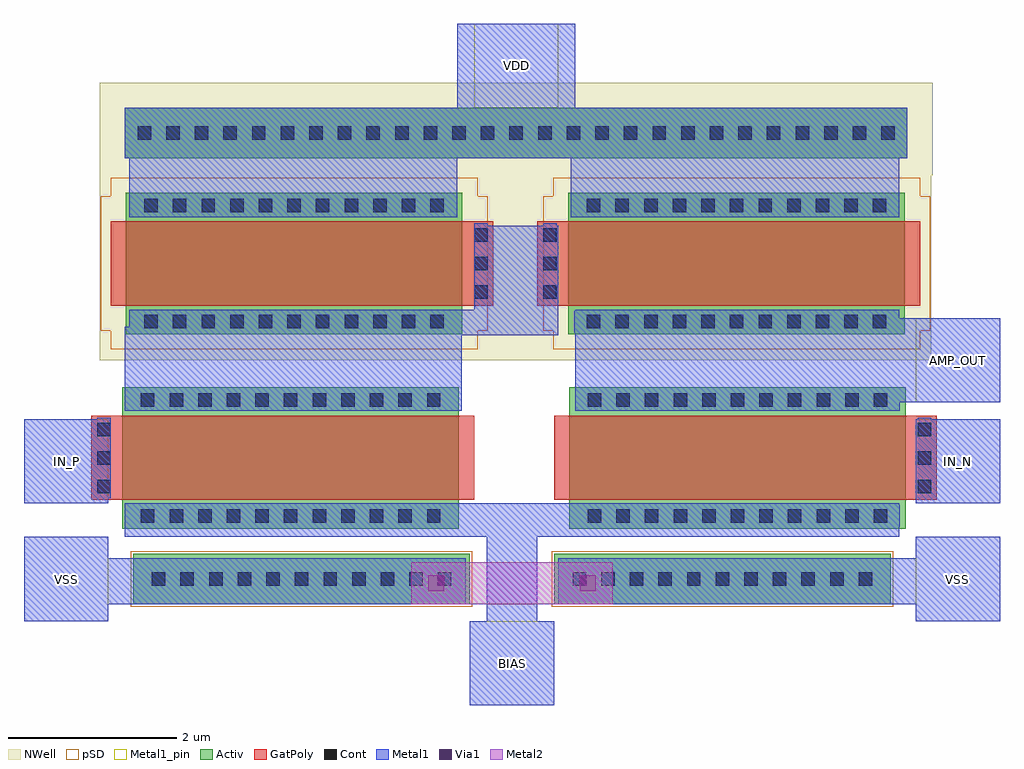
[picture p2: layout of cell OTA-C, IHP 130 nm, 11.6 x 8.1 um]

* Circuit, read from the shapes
.subckt OTA-C AMP_OUT BIAS IN_N IN_P VDD VSS
XM1 sg13_lv_nmos_CB58VR_3/D IN_P BIAS VSS sg13_lv_nmos w=4u l=1u
XM2 AMP_OUT IN_N BIAS VSS sg13_lv_nmos w=4u l=1u
XM3 VDD sg13_lv_nmos_CB58VR_3/D sg13_lv_nmos_CB58VR_3/D VDD sg13_lv_pmos w=4u l=1u
XM4 VDD sg13_lv_nmos_CB58VR_3/D AMP_OUT VDD sg13_lv_pmos w=4u l=1u
.ends

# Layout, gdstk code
from math import pi, radians
import gdstk
lib = gdstk.Library(unit=1e-6, precision=1e-09)
def R(c, l, rs):  # rectangles x0, y0, x1, y1
    for r in rs: c.add(gdstk.rectangle(r[:2], r[2:], *l))
def A(c, l, x, y, w, h, nx, ny, dx, dy):  # array of equal rectangles
    R(c, l, [(x+i*dx, y+j*dy, x+i*dx+w, y+j*dy+h) for i in range(nx) for j in range(ny)])
Activ = (1, 0)
GatPoly = (5, 0)
Cont = (6, 0)
Metal1 = (8, 0)
Metal1_pin = (8, 2)
Metal2 = (10, 0)
pSD = (14, 0)
Via1 = (19, 0)
NWell = (31, 0)

sg13_lv_pmos_xb565w = lib.new_cell('sg13_lv_pmos_XB565W')
R(sg13_lv_pmos_xb565w, Activ, [(-0.84,-2.095,0.84,1.905)])
R(sg13_lv_pmos_xb565w, GatPoly, [(-0.5,-2.275,0.5,2.275)])
A(sg13_lv_pmos_xb565w, Cont, -0.77, -1.875, 0.16, 0.16, 1, 11, 0, 0.34)
A(sg13_lv_pmos_xb565w, Cont, 0.61, -1.875, 0.16, 0.16, 1, 11, 0, 0.34)
A(sg13_lv_pmos_xb565w, Cont, -0.42, 2.045, 0.16, 0.16, 3, 1, 0.34, 0)
R(sg13_lv_pmos_xb565w, Metal1, [(-0.82,-2.025,-0.56,1.835), (0.56,-2.025,0.82,1.835), (-0.48,2.045,0.48,2.205)])
R(sg13_lv_pmos_xb565w, pSD, [(-0.8,-2.395,0.8,-2.275), (-1.02,-2.275,1.02,2.085), (-0.8,2.085,0.8,2.205)])
R(sg13_lv_pmos_xb565w, NWell, [(-1.15,-2.405,1.15,2.215)])
sg13_lv_pmos_xb565w.add(gdstk.Label('D', (-0.69,-0.095), layer=8, texttype=25))
sg13_lv_pmos_xb565w.add(gdstk.Label('S', (0.69,-0.095), layer=8, texttype=25))
sg13_lv_pmos_xb565w.add(gdstk.Label('G', (0,2.125), layer=8, texttype=25))

sg13_lv_nmos_cb58vr = lib.new_cell('sg13_lv_nmos_CB58VR')
R(sg13_lv_nmos_cb58vr, Activ, [(-0.84,-2.095,0.84,1.905)])
R(sg13_lv_nmos_cb58vr, GatPoly, [(-0.5,-2.275,0.5,2.275)])
A(sg13_lv_nmos_cb58vr, Cont, -0.77, -1.875, 0.16, 0.16, 1, 11, 0, 0.34)
A(sg13_lv_nmos_cb58vr, Cont, 0.61, -1.875, 0.16, 0.16, 1, 11, 0, 0.34)
A(sg13_lv_nmos_cb58vr, Cont, -0.42, 2.045, 0.16, 0.16, 3, 1, 0.34, 0)
R(sg13_lv_nmos_cb58vr, Metal1, [(-0.82,-2.025,-0.56,1.835), (0.56,-2.025,0.82,1.835), (-0.48,2.045,0.48,2.205)])
sg13_lv_nmos_cb58vr.add(gdstk.Label('D', (-0.69,-0.095), layer=8, texttype=25))
sg13_lv_nmos_cb58vr.add(gdstk.Label('S', (0.69,-0.095), layer=8, texttype=25))
sg13_lv_nmos_cb58vr.add(gdstk.Label('G', (0,2.125), layer=8, texttype=25))

ota_c = lib.new_cell('OTA-C')
R(ota_c, Activ, [(7.1,-5.9,11.1,-5.3), (12.1,-5.9,16.1,-5.3), (7,-0.6,16.3,0)])
A(ota_c, Cont, 7.32, -5.68, 0.16, 0.16, 11, 1, 0.34, 0)
A(ota_c, Cont, 12.32, -5.68, 0.16, 0.16, 11, 1, 0.34, 0)
A(ota_c, Cont, 7.15, -0.38, 0.16, 0.16, 27, 1, 0.34, 0)
R(ota_c, Metal1, [(11.1,-7.1,12.1,-6.1), (5.8,-6.1,6.8,-5.9), (11.3,-6.1,11.9,-5.1), (16.4,-6.1,17.4,-5.9), (5.8,-5.9,11.05,-5.35), (12.15,-5.9,17.4,-5.35), (5.8,-5.35,6.8,-5.1), (16.4,-5.35,17.4,-5.1), (7,-5.1,16.2,-4.7), (5.8,-4.7,6.8,-3.7), (16.4,-4.7,17.4,-3.7), (7,-3.6,11,-2.7), (12.35,-3.6,16.2,-3.5), (12.35,-3.5,17.4,-2.5), (7,-2.7,12.15,-2.6), (7.05,-2.6,12.15,-2.4), (12.35,-2.5,16.2,-2.4), (11.15,-2.4,12.15,-1.4), (7.05,-1.3,10.95,-0.6), (12.3,-1.3,16.2,-0.6), (7,-0.6,16.3,0), (10.95,0,12.35,1)])
R(ota_c, Metal1_pin, [(11.1,-7.1,12.1,-6.1), (5.8,-6.1,6.8,-5.1), (16.4,-6.1,17.4,-5.1), (5.8,-4.7,6.8,-3.7), (16.4,-4.7,17.4,-3.7), (16.4,-3.5,17.4,-2.5), (11.15,0,12.15,1)])
R(ota_c, Metal2, [(10.4,-5.9,12.8,-5.4)])
R(ota_c, pSD, [(7.07,-5.93,11.13,-5.27), (12.07,-5.93,16.13,-5.27)])
R(ota_c, Via1, [(10.605,-5.745,10.795,-5.555), (12.405,-5.745,12.595,-5.555)])
R(ota_c, NWell, [(11.1,-3,13.7,-0.8), (6.7,-0.8,16.6,0.3)])
ota_c.add(gdstk.Reference(sg13_lv_pmos_xb565w, (14.175,-1.85), rotation=pi/2))
ota_c.add(gdstk.Reference(sg13_lv_nmos_cb58vr, (14.375,-4.16), rotation=3*pi/2))
ota_c.add(gdstk.Reference(sg13_lv_pmos_xb565w, (9.105,-1.85), rotation=pi/2, x_reflection=True))
ota_c.add(gdstk.Reference(sg13_lv_nmos_cb58vr, (8.875,-4.16), rotation=3*pi/2, x_reflection=True))
ota_c.add(gdstk.Label('AMP_OUT', (16.9,-3), layer=8, texttype=25))
ota_c.add(gdstk.Label('IN_P', (6.3,-4.2), layer=8, texttype=25))
ota_c.add(gdstk.Label('VDD', (11.65,0.5), layer=8, texttype=25))
ota_c.add(gdstk.Label('IN_N', (16.9,-4.2), layer=8, texttype=25))
ota_c.add(gdstk.Label('VSS', (16.9,-5.6), layer=8, texttype=25))
ota_c.add(gdstk.Label('VSS', (6.3,-5.6), layer=8, texttype=25))
ota_c.add(gdstk.Label('BIAS', (11.6,-6.6), layer=8, texttype=25))

lib.write_gds('OTA-C.gds')
